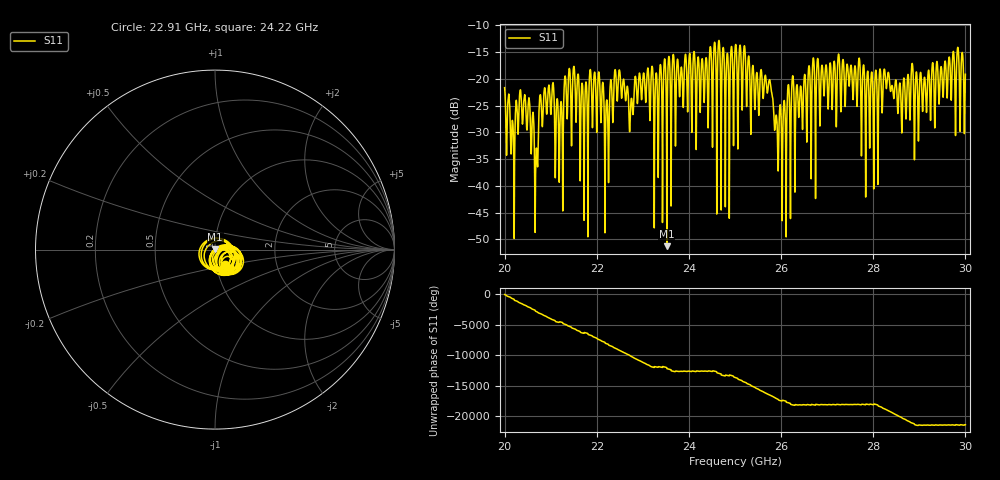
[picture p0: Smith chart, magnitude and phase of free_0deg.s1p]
#  HZ  S  RI  R  50.00
! Rohde & Schwarz ZVA40 4Ports - Version 3.90 - 1145.1110k42 SN: 100403
! Date: 2023-09-30 05:05:09
! Measurement: S22
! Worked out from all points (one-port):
!   5001 points, 20 GHz to 30 GHz, reference 50 ohm
!   lowest |S11| = -51.3 dB at 23.52 GHz (marker M1), VSWR 1.01, Z = 50.1 + j0.257 ohm
!   |S11| at or under -10 dB: start of sweep to end of sweep
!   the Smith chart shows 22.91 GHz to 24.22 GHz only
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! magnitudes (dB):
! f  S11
! 20 GHz  -21.6
! 20.17 GHz  -27.9
! 20.3 GHz  -29.2
! 20.5 GHz  -27.3
! 20.69 GHz  -33.2
! 20.78 GHz  -23.0
! 20.9 GHz  -24.7
! 21.25 GHz  -29.8
! 21.37 GHz  -24.6
! 21.77 GHz  -20.6
! 21.88 GHz  -20.4
! 22.08 GHz  -25.1
! 22.22 GHz  -23.9
! 22.5 GHz  -18.6
! 22.75 GHz  -23.8
! 22.88 GHz  -24.6
! 23.29 GHz  -18.9
! 23.52 GHz  -51.3
! 23.75 GHz  -16.4
! 25 GHz  -14.7
! 25.76 GHz  -20.7
! 25.98 GHz  -24.9
! 26.25 GHz  -19.5
! 27.5 GHz  -18.6
! 27.88 GHz  -18.6
! 28.28 GHz  -21.3
! 28.75 GHz  -19.3
! 30 GHz  -19.1
